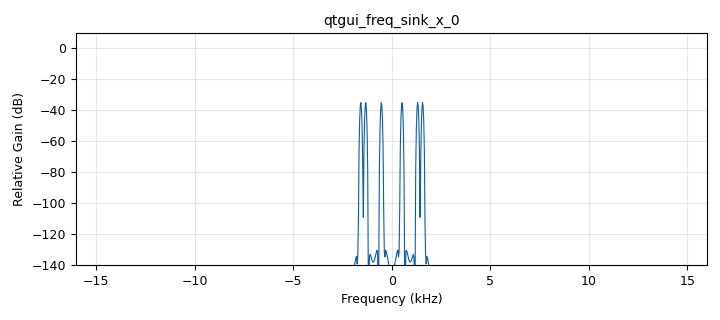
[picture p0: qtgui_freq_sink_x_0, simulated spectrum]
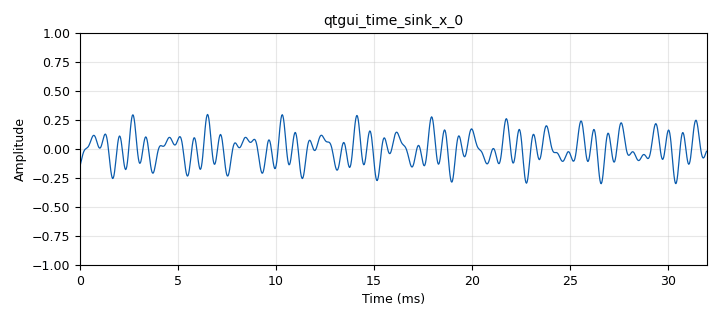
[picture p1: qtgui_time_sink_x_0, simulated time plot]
options:
  parameters:
    author: Rachit Garg
    description: Generate a complex tone (C Major) by summing up 3 tones
    generate_options: qt_gui
    id: cmajor
    output_language: python
    title: C Major tone
  states: {}

blocks:
- name: samp_rate
  id: variable
  parameters:
    value: '32000'
  states: {}
- name: analog_sig_source_x_0
  id: analog_sig_source_x
  parameters:
    amp: '0.1'
    freq: '523.25'
    offset: '0'
    phase: '0'
    samp_rate: samp_rate
    type: float
    waveform: analog.GR_COS_WAVE
  states: {}
- name: analog_sig_source_x_0_0
  id: analog_sig_source_x
  parameters:
    amp: '0.1'
    freq: '1318.5'
    offset: '0'
    phase: '0'
    samp_rate: samp_rate
    type: float
    waveform: analog.GR_COS_WAVE
  states: {}
- name: analog_sig_source_x_0_1
  id: analog_sig_source_x
  parameters:
    amp: '0.1'
    freq: '1568'
    offset: '0'
    phase: '0'
    samp_rate: samp_rate
    type: float
    waveform: analog.GR_COS_WAVE
  states: {}
- name: audio_sink_0
  id: audio_sink
  parameters:
    samp_rate: samp_rate
  states: {}
- name: blocks_add_xx_0
  id: blocks_add_xx
  parameters:
    num_inputs: '3'
    type: float
  states: {}
- name: qtgui_freq_sink_x_0
  id: qtgui_freq_sink_x
  parameters:
    bw: samp_rate
    fc: '0'
    fftsize: '1024'
    type: float
  states: {}
- name: qtgui_time_sink_x_0
  id: qtgui_time_sink_x
  parameters:
    size: '1024'
    srate: samp_rate
    type: float
  states: {}

connections:
- [analog_sig_source_x_0, '0', blocks_add_xx_0, '0']
- [analog_sig_source_x_0_0, '0', blocks_add_xx_0, '1']
- [analog_sig_source_x_0_1, '0', blocks_add_xx_0, '2']
- [blocks_add_xx_0, '0', audio_sink_0, '0']
- [blocks_add_xx_0, '0', qtgui_freq_sink_x_0, '0']
- [blocks_add_xx_0, '0', qtgui_time_sink_x_0, '0']

metadata:
  file_format: 1
  grc_version: 3.10.7.0
